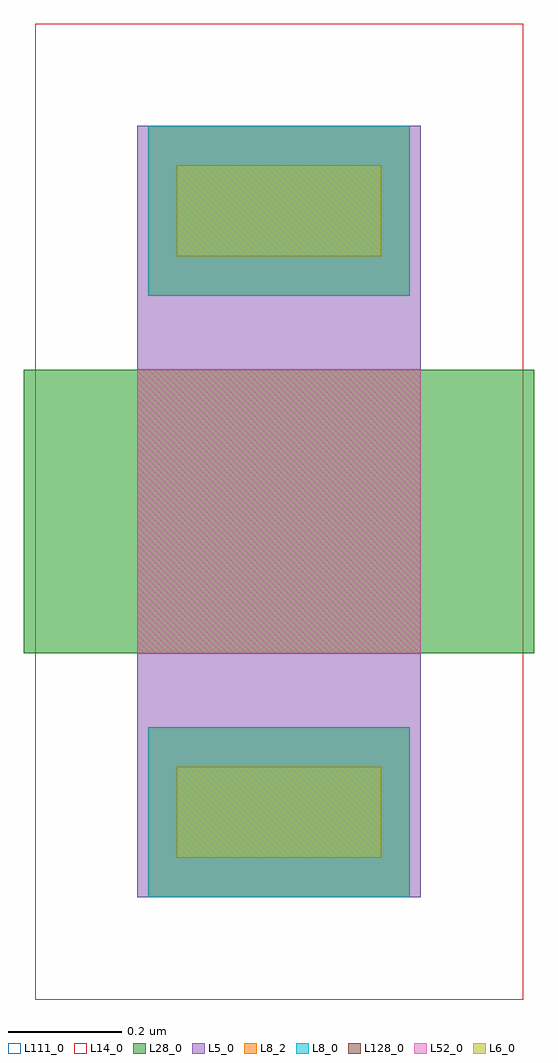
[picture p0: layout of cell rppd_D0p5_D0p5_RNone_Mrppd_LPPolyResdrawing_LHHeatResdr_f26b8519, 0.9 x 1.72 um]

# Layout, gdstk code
import gdstk
lib = gdstk.Library(unit=1e-6, precision=1e-09)
def R(c, l, rs):  # rectangles x0, y0, x1, y1
    for r in rs: c.add(gdstk.rectangle(r[:2], r[2:], *l))
L5_0 = (5, 0)
L6_0 = (6, 0)
L8_0 = (8, 0)
L8_2 = (8, 2)
L14_0 = (14, 0)
L28_0 = (28, 0)
L52_0 = (52, 0)
L111_0 = (111, 0)
L128_0 = (128, 0)

rectangle_gdsfactorypcom = lib.new_cell('rectangle_gdsfactorypcomponentspshapesprectangle_S0p5_0_ce1d4e87')
R(rectangle_gdsfactorypcom, L128_0, [(0,0,0.5,0.5)])

c_rectangle_gdsfactorypcom = lib.new_cell('rectangle_gdsfactorypcomponentspshapesprectangle_S0p5_0_955d4748')
R(c_rectangle_gdsfactorypcom, L52_0, [(0,0,0.5,0.5)])

c_rectangle_gdsfactorypcom_ = lib.new_cell('rectangle_gdsfactorypcomponentspshapesprectangle_S0p5_0_0861799f')
R(c_rectangle_gdsfactorypcom_, L5_0, [(0,0,0.5,0.43)])

c_rectangle_gdsfactorypcom__ = lib.new_cell('rectangle_gdsfactorypcomponentspshapesprectangle_S0p36__7398b747')
R(c_rectangle_gdsfactorypcom__, L6_0, [(0,0,0.36,0.16)])

c_rectangle_gdsfactorypcom___ = lib.new_cell('rectangle_gdsfactorypcomponentspshapesprectangle_S0p46__b6d3f0a7')
R(c_rectangle_gdsfactorypcom___, L8_2, [(0,0,0.46,0.3)])

c_rectangle_gdsfactorypcom____ = lib.new_cell('rectangle_gdsfactorypcomponentspshapesprectangle_S0p46__ebcaa0f1')
R(c_rectangle_gdsfactorypcom____, L8_0, [(0,0,0.46,0.3)])

c_rectangle_gdsfactorypcom_____ = lib.new_cell('rectangle_gdsfactorypcomponentspshapesprectangle_S0p86__1fb207a9')
R(c_rectangle_gdsfactorypcom_____, L111_0, [(0,0,0.86,1.72)])

c_rectangle_gdsfactorypcom______ = lib.new_cell('rectangle_gdsfactorypcomponentspshapesprectangle_S0p86__0ea5da1c')
R(c_rectangle_gdsfactorypcom______, L14_0, [(0,0,0.86,1.72)])

c_rectangle_gdsfactorypcom_______ = lib.new_cell('rectangle_gdsfactorypcomponentspshapesprectangle_S0p9_0_a8e4ce53')
R(c_rectangle_gdsfactorypcom_______, L111_0, [(0,0,0.9,0.5)])

c_rectangle_gdsfactorypcom________ = lib.new_cell('rectangle_gdsfactorypcomponentspshapesprectangle_S0p9_0_e9f9a192')
R(c_rectangle_gdsfactorypcom________, L28_0, [(0,0,0.9,0.5)])

rppd_d0p5_d0p5_rnone_mrp = lib.new_cell('rppd_D0p5_D0p5_RNone_Mrppd_LPPolyResdrawing_LHHeatResdr_f26b8519')
rppd_d0p5_d0p5_rnone_mrp.add(gdstk.Reference(rectangle_gdsfactorypcom, (0,0)))
rppd_d0p5_d0p5_rnone_mrp.add(gdstk.Reference(c_rectangle_gdsfactorypcom, (0,0)))
rppd_d0p5_d0p5_rnone_mrp.add(gdstk.Reference(c_rectangle_gdsfactorypcom_, (0,0.5)))
rppd_d0p5_d0p5_rnone_mrp.add(gdstk.Reference(c_rectangle_gdsfactorypcom_, (0,-0.43)))
rppd_d0p5_d0p5_rnone_mrp.add(gdstk.Reference(c_rectangle_gdsfactorypcom__, (0.07,0.7)))
rppd_d0p5_d0p5_rnone_mrp.add(gdstk.Reference(c_rectangle_gdsfactorypcom__, (0.07,-0.36)))
rppd_d0p5_d0p5_rnone_mrp.add(gdstk.Reference(c_rectangle_gdsfactorypcom___, (0.02,0.63)))
rppd_d0p5_d0p5_rnone_mrp.add(gdstk.Reference(c_rectangle_gdsfactorypcom___, (0.02,-0.43)))
rppd_d0p5_d0p5_rnone_mrp.add(gdstk.Reference(c_rectangle_gdsfactorypcom____, (0.02,0.63)))
rppd_d0p5_d0p5_rnone_mrp.add(gdstk.Reference(c_rectangle_gdsfactorypcom____, (0.02,-0.43)))
rppd_d0p5_d0p5_rnone_mrp.add(gdstk.Reference(c_rectangle_gdsfactorypcom_____, (-0.18,-0.61)))
rppd_d0p5_d0p5_rnone_mrp.add(gdstk.Reference(c_rectangle_gdsfactorypcom______, (-0.18,-0.61)))
rppd_d0p5_d0p5_rnone_mrp.add(gdstk.Reference(c_rectangle_gdsfactorypcom_______, (-0.2,0)))
rppd_d0p5_d0p5_rnone_mrp.add(gdstk.Reference(c_rectangle_gdsfactorypcom________, (-0.2,0)))

lib.write_gds('rppd_D0p5_D0p5_RNone_Mrppd_LPPolyResdrawing_LHHeatResdr_f26b8519.gds')
